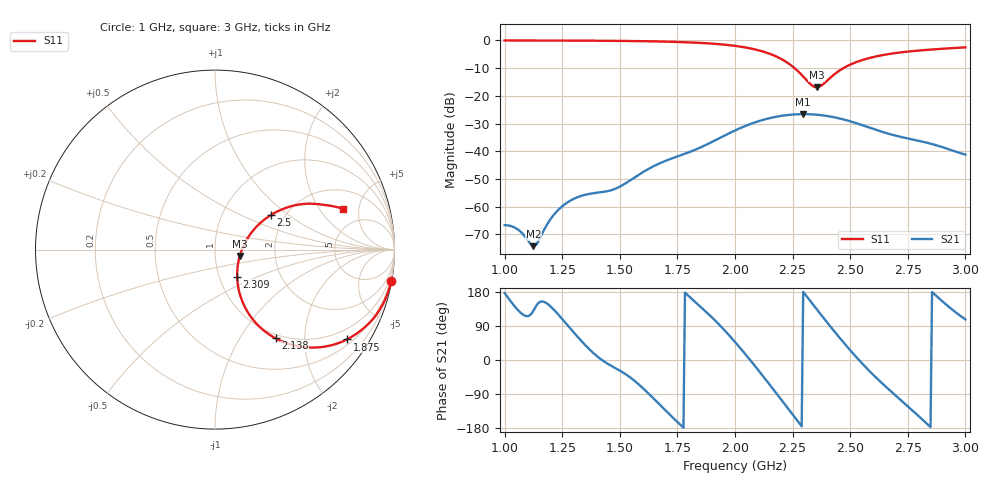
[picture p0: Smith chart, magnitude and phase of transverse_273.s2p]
! TOUCHSTONE file generated by CST MICROWAVE STUDIO
! Date and time: Tue Mar 11 13:58:21 2025
! Project name: transverse.cst
! Parameters = {Fracture=1; B=12.5; D=160; F=15; Feed=2.85625; L=100; M=30; R=0.384908; S=1; Theta=270; length=57.125; wave=114.25}
! Header version: 2024
! Port assignment regex: !\s*Touchstone port\s*([0-9]+)\s*=\s*(CST MWS port|CST DES external port|CST DES block port)\s*(.+)\s* \(\"(.*)\"\)(\s*mode\s*([0-9]+))?.*
! Touchstone port assignment:
! Touchstone port 1 = CST MWS port 1 ("")
! Touchstone port 2 = CST MWS port 2 ("")
# GHz S MA R 50
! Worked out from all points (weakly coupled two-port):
!   305 points, 1 GHz to 3 GHz, reference 50 ohm
!   highest |S21| = -26.60 dB at 2.296 GHz (marker M1); lowest = -74.2 dB at 1.125 GHz (marker M2)
!   lowest |S11| = -16.9 dB at 2.355 GHz (marker M3), VSWR 1.33, Z = 65.8 - j4.84 ohm
!   |S11| at or under -10 dB: 2.258 GHz to 2.471 GHz (212.4 MHz wide, 8.98 % of centre)
!   S12 and S22 are empty: the file has one direction only
!   S11 on the Smith chart (normalised r, x): 1 GHz: 0, -11; 1.875 GHz: 0.65, -3.12; 2.138 GHz: 0.94, -1.45; 2.309 GHz: 1.22, -0.38; 2.5 GHz: 1.69, +0.75; 3 GHz: 3.28, +3.39
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1  0.9975 -10.0  0.0004648 176.9  0 0.0  0 0.0
1.05921  0.9968 -10.8  0.000383 130.8  0 0.0  0 0.0
1.125  0.9959 -11.8  0.0001939 130.0  0 0.0  0 0.0
1.13816  0.9957 -12.0  0.0002085 143.8  0 0.0  0 0.0
1.19079  0.9943 -12.9  0.0005279 145.9  0 0.0  0 0.0
1.23026  0.9931 -13.5  0.0008532 121.9  0 0.0  0 0.0
1.27632  0.9916 -14.3  0.001221 89.5  0 0.0  0 0.0
1.33553  0.9895 -15.5  0.001581 48.6  0 0.0  0 0.0
1.48026  0.9805 -18.8  0.002102 -21.3  0 0.0  0 0.0
1.67105  0.9563 -24.7  0.006004 -116.5  0 0.0  0 0.0
1.875  0.8892 -34.3  0.01308 126.9  0 0.0  0 0.0
2  0.7962 -43.1  0.02369 47.7  0 0.0  0 0.0
2.13816  0.5984 -55.7  0.03842 -55.5  0 0.0  0 0.0
2.22368  0.4054 -62.2  0.04482 -122.8  0 0.0  0 0.0
2.29605  0.223 -55.6  0.04675 179.9  0 0.0  0 0.0
2.30921  0.1945 -50.5  0.04671 169.5  0 0.0  0 0.0
2.33553  0.1526 -33.2  0.04626 148.8  0 0.0  0 0.0
2.35526  0.1424 -14.7  0.04561 133.5  0 0.0  0 0.0
2.42763  0.2375 26.6  0.04124 78.2  0 0.0  0 0.0
2.5  0.3653 31.7  0.03471 25.8  0 0.0  0 0.0
2.67105  0.5704 26.6  0.02044 -79.5  0 0.0  0 0.0
3  0.7482 17.7  0.008696 107.1  0 0.0  0 0.0
